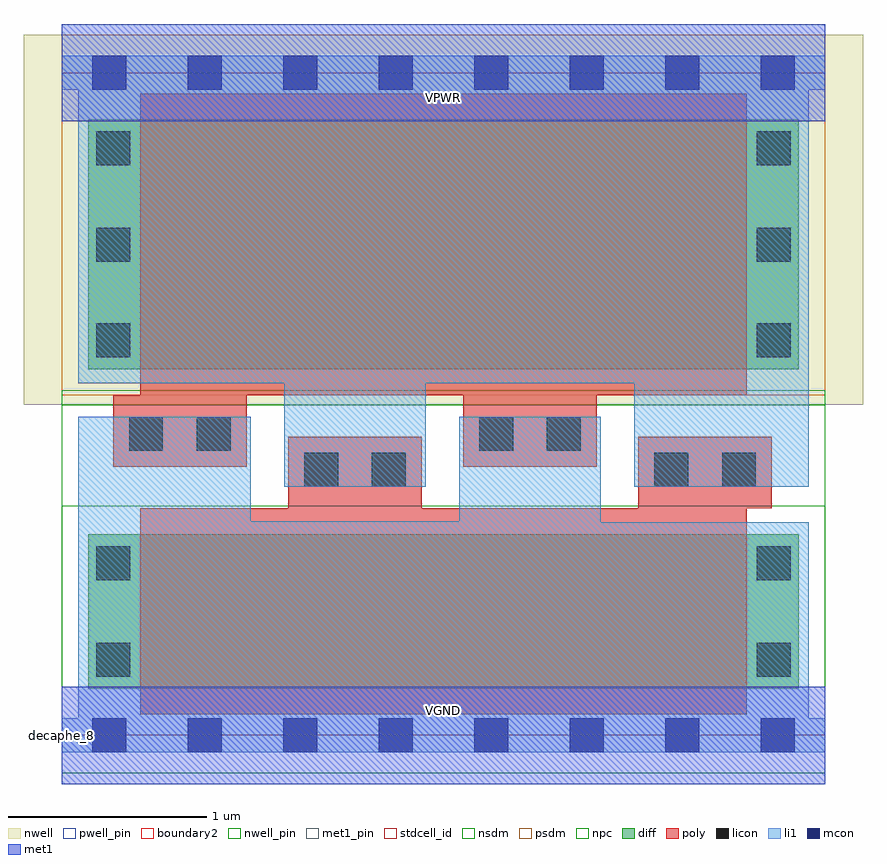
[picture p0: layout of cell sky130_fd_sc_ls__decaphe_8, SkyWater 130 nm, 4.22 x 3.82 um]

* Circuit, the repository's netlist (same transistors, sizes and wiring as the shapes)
* Copyright 2020 The SkyWater PDK Authors
*
* Licensed under the Apache License, Version 2.0 (the "License");
* you may not use this file except in compliance with the License.
* You may obtain a copy of the License at
*
*     https://www.apache.org/licenses/LICENSE-2.0
*
* Unless required by applicable law or agreed to in writing, software
* distributed under the License is distributed on an "AS IS" BASIS,
* WITHOUT WARRANTIES OR CONDITIONS OF ANY KIND, either express or implied.
* See the License for the specific language governing permissions and
* limitations under the License.
*
* SPDX-License-Identifier: Apache-2.0

.SUBCKT sky130_fd_sc_ls__decaphe_8 VGND VNB VPB VPWR
*.PININFO VGND:I VNB:I VPB:I VPWR:I
MI3 VGND VPWR VGND VNB sky130_fd_pr__nfet_01v8 m=1 w=0.775U l=3.05U mult=1 sa=0.265
+ sb=0.265 sd=0.28 area=0.063 perim=1.14
MI2 VPWR VGND VPWR VPB sky130_fd_pr__pfet_01v8 m=1 w=1.255U l=3.05U mult=1 sa=0.265
+ sb=0.265 sd=0.28 area=0.063 perim=1.14
.ENDS sky130_fd_sc_ls__decaphe_8

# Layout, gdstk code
import gdstk
lib = gdstk.Library(unit=1e-6, precision=1e-09)
def R(c, l, rs):  # rectangles x0, y0, x1, y1
    for r in rs: c.add(gdstk.rectangle(r[:2], r[2:], *l))
def A(c, l, x, y, w, h, nx, ny, dx, dy):  # array of equal rectangles
    R(c, l, [(x+i*dx, y+j*dy, x+i*dx+w, y+j*dy+h) for i in range(nx) for j in range(ny)])
def P(c, l, *ps):  # polygons
    for p in ps: c.add(gdstk.Polygon(p, *l))
nwell_pin = (64, 16)
nwell = (64, 20)
diff = (65, 20)
poly = (66, 20)
licon = (66, 44)
li1 = (67, 20)
mcon = (67, 44)
met1_pin = (68, 16)
met1 = (68, 20)
stdcell_id = (81, 4)
nsdm = (93, 44)
psdm = (94, 20)
npc = (95, 20)
pwell_pin = (122, 16)
boundary2 = (236, 0)

sky130_fd_sc_ls__decaphe = lib.new_cell('sky130_fd_sc_ls__decaphe_8')
R(sky130_fd_sc_ls__decaphe, nwell_pin, [(0,3.085,3.84,3.33)])
R(sky130_fd_sc_ls__decaphe, nwell, [(-0.19,1.66,4.03,3.52)])
R(sky130_fd_sc_ls__decaphe, diff, [(0.135,0.235,3.705,1.01), (0.135,1.84,3.705,3.095)])
P(sky130_fd_sc_ls__decaphe, poly, [(3.445,3.225),(0.395,3.225),(0.395,1.71),(0.26,1.71),(0.26,1.35),(0.93,1.35),(0.93,1.71),(2.02,1.71),(2.02,1.35),(2.69,1.35),(2.69,1.71),(3.445,1.71)],
  [(3.57,1.5),(2.9,1.5),(2.9,1.14),(1.81,1.14),(1.81,1.5),(1.14,1.5),(1.14,1.14),(0.395,1.14),(0.395,0.105),(3.445,0.105),(3.445,1.14),(3.57,1.14)])
R(sky130_fd_sc_ls__decaphe, licon, [(0.175,0.295,0.345,0.465), (3.495,0.295,3.665,0.465), (0.175,0.78,0.345,0.95), (3.495,0.78,3.665,0.95), (1.22,1.25,1.39,1.42), (1.56,1.25,1.73,1.42), (2.98,1.25,3.15,1.42), (3.32,1.25,3.49,1.42), (0.34,1.43,0.51,1.6), (0.68,1.43,0.85,1.6), (2.1,1.43,2.27,1.6), (2.44,1.43,2.61,1.6), (0.175,1.9,0.345,2.07), (3.495,1.9,3.665,2.07), (0.175,2.38,0.345,2.55), (3.495,2.38,3.665,2.55), (0.175,2.865,0.345,3.035), (3.495,2.865,3.665,3.035)])
P(sky130_fd_sc_ls__decaphe, li1, [(3.84,3.415),(0,3.415),(0,3.245),(0.085,3.245),(0.085,1.77),(1.12,1.77),(1.12,1.25),(1.83,1.25),(1.83,1.77),(2.88,1.77),(2.88,1.25),(3.755,1.25),(3.755,3.245),(3.84,3.245)],
  [(3.84,0.085),(3.755,0.085),(3.755,1.07),(2.71,1.07),(2.71,1.6),(2,1.6),(2,1.075),(0.95,1.075),(0.95,1.6),(0.085,1.6),(0.085,0.085),(0,0.085),(0,-0.085),(3.84,-0.085)])
A(sky130_fd_sc_ls__decaphe, mcon, 0.155, -0.085, 0.17, 0.17, 8, 2, 0.48, 3.33)
R(sky130_fd_sc_ls__decaphe, met1_pin, [(0,0,3.84,0.245), (0,3.085,3.84,3.33)])
R(sky130_fd_sc_ls__decaphe, met1, [(0,-0.245,3.84,0.245), (0,3.085,3.84,3.575)])
R(sky130_fd_sc_ls__decaphe, stdcell_id, [(0,0,3.84,3.33)])
R(sky130_fd_sc_ls__decaphe, nsdm, [(0,-0.19,3.84,1.66)])
R(sky130_fd_sc_ls__decaphe, psdm, [(0,1.71,3.84,3.52)])
R(sky130_fd_sc_ls__decaphe, npc, [(0,1.15,3.84,1.735)])
R(sky130_fd_sc_ls__decaphe, pwell_pin, [(0,0,3.84,0.245)])
R(sky130_fd_sc_ls__decaphe, boundary2, [(0,0,3.84,3.33)])
sky130_fd_sc_ls__decaphe.add(gdstk.Label('VGND', (1.92,0.123), layer=68, texttype=5))
sky130_fd_sc_ls__decaphe.add(gdstk.Label('VPWR', (1.92,3.208), layer=68, texttype=5))
sky130_fd_sc_ls__decaphe.add(gdstk.Label('decaphe_8', (0,0), layer=83, texttype=44))
sky130_fd_sc_ls__decaphe.add(gdstk.Label('VPB', (1.92,3.208), layer=64, texttype=5))
sky130_fd_sc_ls__decaphe.add(gdstk.Label('VNB', (1.92,0.123), layer=64, texttype=59))

lib.write_gds('sky130_fd_sc_ls__decaphe_8.gds')
